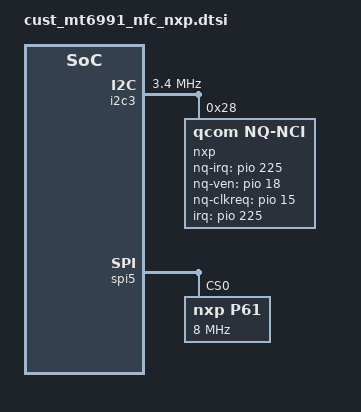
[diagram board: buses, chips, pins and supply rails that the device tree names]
//NFCC for Mediateckstart
&i2c3 {
    status = "okay";
    clock-frequency = <3400000>;
    nxp@28 {
        compatible = "qcom,nq-nci";
        reg = <0x28>;
        qcom,nq-irq         = <&pio 225 0x00>;
        interrupt-parent    = <&pio>;
        interrupts          = <225 IRQ_TYPE_LEVEL_HIGH 225 0>;
        qcom,nq-ven         = <&pio 18 0x0>;
//        qcom,nq-firm        = <&pio 19 0x0>;
        qcom,nq-clkreq      = <&pio 15 0x0>;
        interrupt-names = "nfc_irq";
        pinctrl-names   = "default", "nfc_active", "nfc_suspend";
        pinctrl-0 = <&nfc_default>;
        pinctrl-1 = <&nfc_int_active &nfc_enable_active
                    &nfc_clk_req_active>;
        pinctrl-2 = <&nfc_int_suspend &nfc_enable_suspend
                    &nfc_clk_req_suspend>;
    };
};
//&clock_buffer_ctrl {
//    mediatek,xo-bbck4 = <1>;
//};
&pio {
    nfc_default: nfc_default {
    };
    nfc_int_active: nfc_int_active {
        pins_cmd_dat {
            pinmux = <PINMUX_GPIO225__FUNC_GPIO225>;
            slew-rate = <0>;
            drive-strength = <MTK_DRIVE_2mA>;
            bias-pull-up;
        };
    };
    nfc_int_suspend: nfc_int_suspend {
        pins_cmd_dat {
            pinmux = <PINMUX_GPIO225__FUNC_GPIO225>;
            slew-rate = <0>;
            drive-strength = <MTK_DRIVE_2mA>;
            bias-pull-up;
        };
    };
    nfc_enable_active: nfc_enable_active {
        pins_cmd_dat {
            pinmux = <PINMUX_GPIO18__FUNC_GPIO18>;
            slew-rate = <1>;
            output-high;
            drive-strength = <MTK_DRIVE_2mA>;
            bias-pull-up=<MTK_PUPD_SET_R1R0_11>;
        };
    };
    nfc_enable_suspend: nfc_enable_suspend {
        pins_cmd_dat {
            pinmux = <PINMUX_GPIO18__FUNC_GPIO18>;
            slew-rate = <1>;
            drive-strength = <MTK_DRIVE_2mA>;
            bias-disable;
        };
    };
     nfc_firmwaredownload_active: nfc_firmwaredownload_active {
        pins_cmd_dat {
            pinmux = <PINMUX_GPIO19__FUNC_GPIO19>;
            slew-rate = <1>;
            drive-strength = <MTK_DRIVE_2mA>;
            bias-pull-up;
        };
    };
    nfc_firmwaredownload_suspend: nfc_firmwaredownload_suspend {
        pins_cmd_dat {
            pinmux = <PINMUX_GPIO19__FUNC_GPIO19>;
            slew-rate = <1>;
            drive-strength = <MTK_DRIVE_2mA>;
            bias-disable;
        };
    };
    nfc_clk_req_active: nfc_clk_req_active {
        pins_cmd_dat {
            pinmux = <PINMUX_GPIO15__FUNC_SRCLKENAI0>;
            slew-rate = <0>;
            input-enable;
            drive-strength = <MTK_DRIVE_2mA>;
            bias-pull-up;
        };
    };
    nfc_clk_req_suspend: nfc_clk_req_suspend {
        pins_cmd_dat {
            pinmux = <PINMUX_GPIO15__FUNC_SRCLKENAI0>;
            slew-rate = <0>;
            input-enable;
            drive-strength = <MTK_DRIVE_2mA>;
            bias-pull-down;
        };
    };
};
//NFCC end
/* eSE SPI configuration */
&spi5 {
    #address-cells = <1>;
    #size-cells = <0>;
    p61@31 {
        compatible = "nxp,p61";
        reg = <0>;
        nxp,nfcc = "3-0028";
        spi-max-frequency = <8000000>;
        status = "okay";
        pinctrl-names = "nxp_ese_spi_mode";
        pinctrl-0 = <&nxp_ese_spi_mode>;
    };
};
&pio {
    nxp_ese_spi_mode: nxp_ese_spi_mode {
        pins_cmd_dat {
            pinmux = <PINMUX_GPIO121__FUNC_SPI5_MI>,
                    <PINMUX_GPIO120__FUNC_SPI5_MO>,
                    <PINMUX_GPIO118__FUNC_SPI5_CLK>,
                    <PINMUX_GPIO119__FUNC_SPI5_CSB>;
            drive-strength = <6>;
        };
    };
};
/* eSE SPI configuration -- end */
